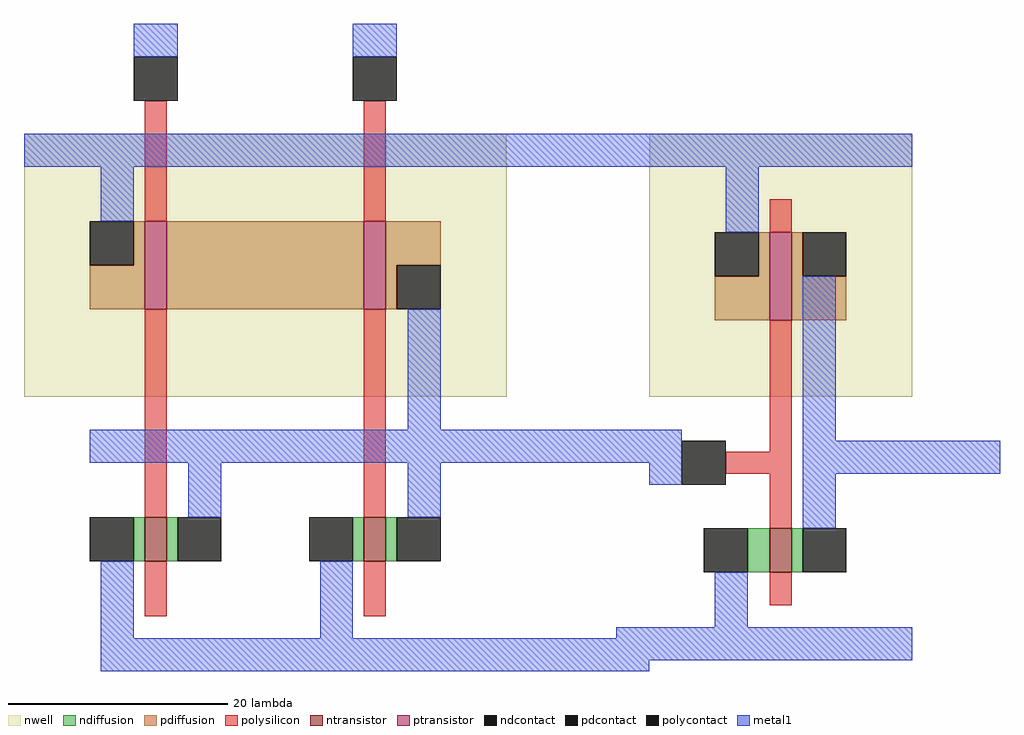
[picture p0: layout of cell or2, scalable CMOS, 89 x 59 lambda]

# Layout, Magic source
magic
tech scmos
<< nwell >>
rect -13 8 31 32
<< ntransistor >>
rect -2 -7 0 -3
rect 18 -7 20 -3
<< ptransistor >>
rect -2 16 0 24
rect 18 16 20 24
<< ndiffusion >>
rect -3 -7 -2 -3
rect 0 -7 1 -3
rect 17 -7 18 -3
rect 20 -7 21 -3
<< pdiffusion >>
rect -3 20 -2 24
rect -7 16 -2 20
rect 0 16 18 24
rect 20 20 25 24
rect 20 16 21 20
<< ndcontact >>
rect -7 -7 -3 -3
rect 1 -7 5 -3
rect 13 -7 17 -3
rect 21 -7 25 -3
<< pdcontact >>
rect -7 20 -3 24
rect 21 16 25 20
<< polysilicon >>
rect -2 24 0 35
rect 18 24 20 35
rect -2 -3 0 16
rect 18 -3 20 16
rect -2 -12 0 -7
rect 18 -12 20 -7
<< polycontact >>
rect -3 35 1 39
rect 17 35 21 39
<< metal1 >>
rect -3 39 1 42
rect 17 39 21 42
rect -13 29 45 32
rect -6 24 -3 29
rect 22 5 25 16
rect -7 4 47 5
rect -7 2 44 4
rect 2 -3 5 2
rect 22 -3 25 2
rect 68 1 76 4
rect -6 -14 -3 -7
rect 14 -14 17 -7
rect 41 -14 44 -13
rect -6 -17 44 -14
use not  not_0
transform 1 0 56 0 1 17
box -12 -33 12 15
<< end >>

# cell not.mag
magic
tech scmos
<< nwell >>
rect -12 -9 12 15
<< ntransistor >>
rect -1 -25 1 -21
<< ptransistor >>
rect -1 -2 1 6
<< ndiffusion >>
rect -3 -25 -1 -21
rect 1 -25 2 -21
<< pdiffusion >>
rect -2 2 -1 6
rect -6 -2 -1 2
rect 1 2 2 6
rect 1 -2 6 2
<< ndcontact >>
rect -7 -25 -3 -21
rect 2 -25 6 -21
<< pdcontact >>
rect -6 2 -2 6
rect 2 2 6 6
<< polysilicon >>
rect -1 6 1 9
rect -1 -14 1 -2
rect -5 -16 1 -14
rect -1 -21 1 -16
rect -1 -28 1 -25
<< polycontact >>
rect -9 -17 -5 -13
<< metal1 >>
rect -12 12 12 15
rect -5 6 -2 12
rect 2 -13 5 2
rect -12 -17 -9 -13
rect 2 -16 12 -13
rect 2 -21 5 -16
rect -6 -30 -3 -25
rect -12 -33 12 -30
<< end >>
